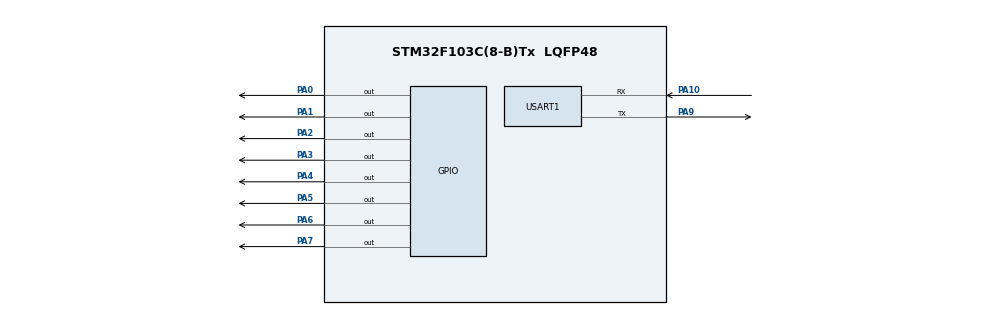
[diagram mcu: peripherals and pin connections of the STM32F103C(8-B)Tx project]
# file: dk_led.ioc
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Mcu.Family=STM32F1
Mcu.Name=STM32F103C(8-B)Tx
Mcu.Package=LQFP48
NVIC.PriorityGroup=NVIC_PRIORITYGROUP_4
NVIC.USART1_IRQn=true\:0\:0\:false\:false\:true\:true\:true\:true
PA0-WKUP.Signal=GPIO_Output
PA1.Signal=GPIO_Output
PA10.Mode=Asynchronous
PA10.Signal=USART1_RX
PA13.Mode=Serial_Wire
PA13.Signal=SYS_JTMS-SWDIO
PA14.Mode=Serial_Wire
PA14.Signal=SYS_JTCK-SWCLK
PA2.Signal=GPIO_Output
PA3.Signal=GPIO_Output
PA4.Signal=GPIO_Output
PA5.Signal=GPIO_Output
PA6.Signal=GPIO_Output
PA7.Signal=GPIO_Output
PA9.Mode=Asynchronous
PA9.Signal=USART1_TX
PD0-OSC_IN.Mode=HSE-External-Oscillator
PD0-OSC_IN.Signal=RCC_OSC_IN
PD1-OSC_OUT.Mode=HSE-External-Oscillator
PD1-OSC_OUT.Signal=RCC_OSC_OUT
ProjectManager.HeapSize=0x200
ProjectManager.StackSize=0x400
ProjectManager.TargetToolchain=STM32CubeIDE
RCC.APB1Freq_Value=8000000
RCC.APB2Freq_Value=8000000
USART1.VirtualMode=VM_ASYNC
board=custom

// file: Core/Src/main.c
/* USER CODE BEGIN Header */
/**
 * hello kiên km km
 ******************************************************************************
 * @file           : main.c
 * @brief          : Main program body
 ******************************************************************************
 * @attention
 *
 * Copyright (c) 2023 STMicroelectronics.
 * All rights reserved.
 *
 * This software is licensed under terms that can be found in the LICENSE file
 * in the root directory of this software component.
 * If no LICENSE file comes with this software, it is provided AS-IS.
 *
 ******************************************************************************
 */
/* USER CODE END Header */
#include "main.h"

/* USER CODE BEGIN Includes */
#include "led_drive.h"
#include "app_led.h"
#include "uart.h"
#include "response.h"
/* USER CODE END Includes */

UART_HandleTypeDef huart1;

void SystemClock_Config(void);
static void MX_GPIO_Init(void);
static void MX_USART1_UART_Init(void);

/* USER CODE BEGIN 0 */
static uint8_t data_rx;
void HAL_UART_RxCpltCallback(UART_HandleTypeDef *huart)
{
  if (huart->Instance == huart1.Instance)
  {
    receive_data(data_rx);
    HAL_UART_Receive_IT(&huart1, &data_rx, 1);
  }
}
/* USER CODE END 0 */

int main(void)
{

  /* MCU Configuration--------------------------------------------------------*/

  /* Reset of all peripherals, Initializes the Flash interface and the Systick. */
  HAL_Init();

  /* Configure the system clock */
  SystemClock_Config();

  /* Initialize all configured peripherals */
  MX_GPIO_Init();
  MX_USART1_UART_Init();
  /* USER CODE BEGIN 2 */
  HAL_UART_Transmit(&huart1, "hello", 5, 100);
  HAL_UART_Receive_IT(&huart1, &data_rx, 1); // nhan 1 byte thi nhay vao ham ngat
  response_init(&huart1);
  app_led_init();
  /* USER CODE END 2 */

  /* Infinite loop */
  while (1)
  {

    /* USER CODE BEGIN 3 */
    uart_handle();
    app_led_handle();
  }
  /* USER CODE END 3 */
}

void SystemClock_Config(void)
{
  RCC_OscInitTypeDef RCC_OscInitStruct = {0};
  RCC_ClkInitTypeDef RCC_ClkInitStruct = {0};

  /** Initializes the RCC Oscillators according to the specified parameters
   * in the RCC_OscInitTypeDef structure.
   */
  RCC_OscInitStruct.OscillatorType = RCC_OSCILLATORTYPE_HSI;
  RCC_OscInitStruct.HSIState = RCC_HSI_ON;
  RCC_OscInitStruct.HSICalibrationValue = RCC_HSICALIBRATION_DEFAULT;
  RCC_OscInitStruct.PLL.PLLState = RCC_PLL_NONE;
  if (HAL_RCC_OscConfig(&RCC_OscInitStruct) != HAL_OK)
  {
    Error_Handler();
  }

  /** Initializes the CPU, AHB and APB buses clocks
   */
  RCC_ClkInitStruct.ClockType = RCC_CLOCKTYPE_HCLK | RCC_CLOCKTYPE_SYSCLK | RCC_CLOCKTYPE_PCLK1 | RCC_CLOCKTYPE_PCLK2;
  RCC_ClkInitStruct.SYSCLKSource = RCC_SYSCLKSOURCE_HSI;
  RCC_ClkInitStruct.AHBCLKDivider = RCC_SYSCLK_DIV1;
  RCC_ClkInitStruct.APB1CLKDivider = RCC_HCLK_DIV1;
  RCC_ClkInitStruct.APB2CLKDivider = RCC_HCLK_DIV1;

  if (HAL_RCC_ClockConfig(&RCC_ClkInitStruct, FLASH_LATENCY_0) != HAL_OK)
  {
    Error_Handler();
  }
}

static void MX_USART1_UART_Init(void)
{

  huart1.Instance = USART1;
  huart1.Init.BaudRate = 115200;
  huart1.Init.WordLength = UART_WORDLENGTH_8B;
  huart1.Init.StopBits = UART_STOPBITS_1;
  huart1.Init.Parity = UART_PARITY_NONE;
  huart1.Init.Mode = UART_MODE_TX_RX;
  huart1.Init.HwFlowCtl = UART_HWCONTROL_NONE;
  huart1.Init.OverSampling = UART_OVERSAMPLING_16;
  if (HAL_UART_Init(&huart1) != HAL_OK)
  {
    Error_Handler();
  }
}

static void MX_GPIO_Init(void)
{
  GPIO_InitTypeDef GPIO_InitStruct = {0};

  /* GPIO Ports Clock Enable */
  __HAL_RCC_GPIOD_CLK_ENABLE();
  __HAL_RCC_GPIOA_CLK_ENABLE();

  /*Configure GPIO pin Output Level */
  HAL_GPIO_WritePin(GPIOA, GPIO_PIN_0 | GPIO_PIN_1 | GPIO_PIN_2 | GPIO_PIN_3 | GPIO_PIN_4 | GPIO_PIN_5 | GPIO_PIN_6 | GPIO_PIN_7, GPIO_PIN_RESET);

  /*Configure GPIO pins : PA0 PA1 PA2 PA3
                           PA4 PA5 PA6 PA7 */
  GPIO_InitStruct.Pin = GPIO_PIN_0 | GPIO_PIN_1 | GPIO_PIN_2 | GPIO_PIN_3 | GPIO_PIN_4 | GPIO_PIN_5 | GPIO_PIN_6 | GPIO_PIN_7;
  GPIO_InitStruct.Mode = GPIO_MODE_OUTPUT_PP;
  GPIO_InitStruct.Pull = GPIO_NOPULL;
  GPIO_InitStruct.Speed = GPIO_SPEED_FREQ_LOW;
  HAL_GPIO_Init(GPIOA, &GPIO_InitStruct);

}

void Error_Handler(void)
{
  __disable_irq();
  while (1)
  {
  }
}
